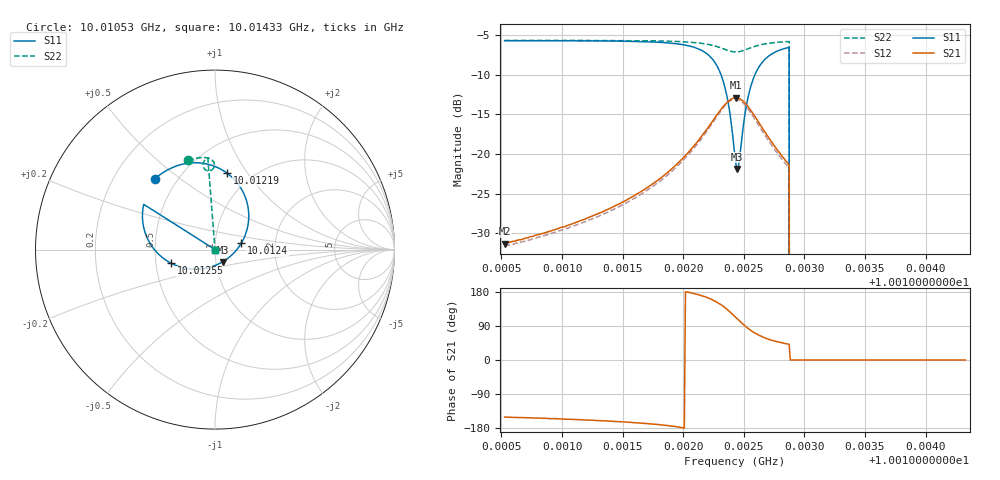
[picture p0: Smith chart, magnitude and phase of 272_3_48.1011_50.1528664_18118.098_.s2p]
#  HZ  S  RI  R  50.00
! Rohde & Schwarz Vector Network Analyzer
! Rohde-Schwarz,ZNB20-2Port,1311601062101988,3.16
! Created: UTC 12/23/2023, 4:01:52 AM
! freq[Hz]  re:S11  im:S11  re:S21  im:S21  re:S12  im:S12  re:S22  im:S22
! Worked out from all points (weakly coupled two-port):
!   401 points, 10.01053 GHz to 10.01433 GHz, reference 50 ohm
!   highest |S21| = -12.91 dB at 10.01244 GHz (marker M1); lowest = -31.3 dB at 10.01053 GHz (marker M2)
!   lowest |S11| = -21.9 dB at 10.01245 GHz (marker M3), VSWR 1.17, Z = 53.9 - j7.42 ohm
!   |S11| at or under -10 dB: 10.01231 GHz to 10.01259 GHz (280.5 kHz wide, 0.0028 % of centre); 10.01287 GHz to end of sweep
!   |S22| runs from - to -5.7 dB; largest |S21 - S12| = 0.011
!   S11 on the Smith chart (normalised r, x): 10.01053 GHz: 0.38, +0.41; 10.01219 GHz: 0.77, +0.81; 10.0124 GHz: 1.34, +0.10; 10.01255 GHz: 0.60, -0.10; 10.01433 GHz: 1.00, +0.00
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1.0010526e10  -0.335 0.3949  -0.0237 -0.0134  -0.0221 -0.0141  -0.1492 0.4974
1.0011163e10  -0.278 0.4361  -0.0355 -0.0143  -0.0333 -0.0156  -0.1063 0.5087
1.00118e10  -0.1616 0.4799  -0.0682 -0.0114  -0.0652 -0.0145  -0.0556 0.5129
1.0012019e10  -0.0675 0.4809  -0.0978 0.000176  -0.0945 -0.00561  -0.0325 0.5083
1.001219e10  0.0667 0.4264  -0.1372 0.0346  -0.135 0.0262  -0.0114 0.4936
1.0012266e10  0.1424 0.3453  -0.1544 0.0732  -0.1547 0.0635  -0.00396 0.4788
1.0012323e10  0.1842 0.2356  -0.1577 0.1168  -0.1598 0.1068  -0.00393 0.4631
1.0012361e10  0.1844 0.1397  -0.1469 0.152  -0.1504 0.1435  -0.00933 0.4517
1.0012399e10  0.1466 0.0357  -0.1214 0.1866  -0.1269 0.1779  -0.0196 0.4426
1.0012428e10  0.0911 -0.0323  -0.0935 0.2058  -0.0985 0.1987  -0.0301 0.4389
1.0012437e10  0.0666 -0.0523  -0.0826 0.2105  -0.0884 0.2033  -0.0337 0.4387
1.0012447e10  0.042 -0.0684  -0.072 0.2139  -0.0769 0.2071  -0.0376 0.4387
1.0012466e10  -0.0131 -0.0937  -0.0498 0.2174  -0.0549 0.2109  -0.0449 0.4403
1.0012513e10  -0.1516 -0.1061  0.00294 0.2085  -0.00226 0.2022  -0.0591 0.4501
1.0012551e10  -0.2443 -0.0762  0.035 0.1883  0.0283 0.1828  -0.0652 0.4608
1.0012599e10  -0.3241 -0.0157  0.0583 0.1589  0.0516 0.1541  -0.0669 0.474
1.0012665e10  -0.3814 0.0731  0.0718 0.1212  0.0645 0.1184  -0.0629 0.4885
1.0012855e10  -0.3993 0.2413  0.0655 0.0602  0.0598 0.0599  -0.042 0.5093
1.0012903e10  0 0  0 0  0 0  0 0
1.0013065e10  0 0  0 0  0 0  0 0
1.0013702e10  0 0  0 0  0 0  0 0
1.0014329e10  0 0  0 0  0 0  0 0
